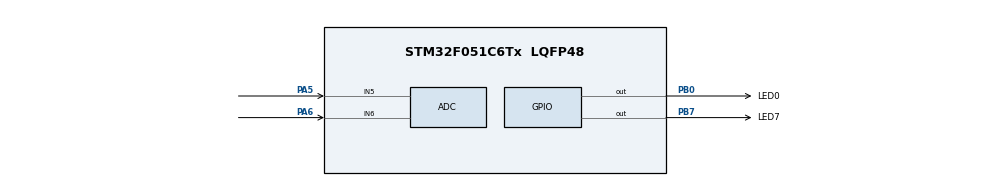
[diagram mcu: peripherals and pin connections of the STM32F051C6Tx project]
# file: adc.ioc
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Mcu.Family=STM32F0
Mcu.Name=STM32F051C6Tx
Mcu.Package=LQFP48
PA13.Mode=Serial_Wire
PA13.Signal=SYS_SWDIO
PA14.Mode=Serial_Wire
PA14.Signal=SYS_SWCLK
PA5.Mode=IN5
PA5.Signal=ADC_IN5
PA6.Mode=IN6
PA6.Signal=ADC_IN6
PB0.GPIO_Label=LED0
PB0.Signal=GPIO_Output
PB7.GPIO_Label=LED7
PB7.Signal=GPIO_Output
ProjectManager.HeapSize=0x200
ProjectManager.StackSize=0x400
ProjectManager.TargetToolchain=Makefile
board=custom

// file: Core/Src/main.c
/* USER CODE BEGIN Header */
/**
  ******************************************************************************
  * @file           : main.c
  * @brief          : Main program body
  ******************************************************************************
  * @attention
  *
  * Copyright (c) 2024 STMicroelectronics.
  * All rights reserved.
  *
  * This software is licensed under terms that can be found in the LICENSE file
  * in the root directory of this software component.
  * If no LICENSE file comes with this software, it is provided AS-IS.
  *
  ******************************************************************************
  */
/* USER CODE END Header */
#include "main.h"
#include "adc.h"
#include "gpio.h"

/* USER CODE BEGIN PV */
//JUSTIN - START 1/3
uint16_t adc_value;
uint8_t channel = 0;
//JUSTIN - END
/* USER CODE END PV */

void SystemClock_Config(void);

int main(void)
{

  /* MCU Configuration--------------------------------------------------------*/

  /* Reset of all peripherals, Initializes the Flash interface and the Systick. */
  HAL_Init();

  /* Configure the system clock */
  SystemClock_Config();

  /* Initialize all configured peripherals */
  MX_GPIO_Init();
  MX_ADC_Init();

  /* Infinite loop */
  while (1)
  {

    /* USER CODE BEGIN 3 */
    //JUSTIN - START 2/3
    adc_set_channel(channel);
    HAL_Delay(1);
    HAL_ADC_Start(&hadc);
    while(HAL_ADC_PollForConversion(&hadc,5)!= HAL_OK);
    adc_value = HAL_ADC_GetValue(&hadc);
    if(channel == 0) {
      HAL_GPIO_WritePin(LED7_GPIO_Port,LED7_Pin,SET);
      channel = 1;
    } else {
      HAL_GPIO_WritePin(LED7_GPIO_Port,LED7_Pin,RESET);
      channel = 0;
    }
    HAL_GPIO_WritePin(LED0_GPIO_Port,LED0_Pin,SET);
    HAL_Delay(5000);
    HAL_GPIO_WritePin(LED0_GPIO_Port,LED0_Pin,RESET);
    //JUSTIN - END
  }
  /* USER CODE END 3 */
}

void SystemClock_Config(void)
{
  RCC_OscInitTypeDef RCC_OscInitStruct = {0};
  RCC_ClkInitTypeDef RCC_ClkInitStruct = {0};

  /** Initializes the RCC Oscillators according to the specified parameters
  * in the RCC_OscInitTypeDef structure.
  */
  RCC_OscInitStruct.OscillatorType = RCC_OSCILLATORTYPE_HSI|RCC_OSCILLATORTYPE_HSI14;
  RCC_OscInitStruct.HSIState = RCC_HSI_ON;
  RCC_OscInitStruct.HSI14State = RCC_HSI14_ON;
  RCC_OscInitStruct.HSICalibrationValue = RCC_HSICALIBRATION_DEFAULT;
  RCC_OscInitStruct.HSI14CalibrationValue = 16;
  RCC_OscInitStruct.PLL.PLLState = RCC_PLL_NONE;
  if (HAL_RCC_OscConfig(&RCC_OscInitStruct) != HAL_OK)
  {
    Error_Handler();
  }

  /** Initializes the CPU, AHB and APB buses clocks
  */
  RCC_ClkInitStruct.ClockType = RCC_CLOCKTYPE_HCLK|RCC_CLOCKTYPE_SYSCLK
                              |RCC_CLOCKTYPE_PCLK1;
  RCC_ClkInitStruct.SYSCLKSource = RCC_SYSCLKSOURCE_HSI;
  RCC_ClkInitStruct.AHBCLKDivider = RCC_SYSCLK_DIV1;
  RCC_ClkInitStruct.APB1CLKDivider = RCC_HCLK_DIV1;

  if (HAL_RCC_ClockConfig(&RCC_ClkInitStruct, FLASH_LATENCY_0) != HAL_OK)
  {
    Error_Handler();
  }
}

/* USER CODE BEGIN 4 */
//JUSTIN - START 3/3
/* I took this code from the adc.c file - In the init section.
* Regrettably setting up the ADC for reading multiple channels is not great without using DMA (scary)
* So you would need to just look at that file and work out how to modify your set channel accordingly.
*/
void adc_set_channel(uint8_t num) {
    ADC_ChannelConfTypeDef sConfig = {0};

    if (num>0) {
      sConfig.Channel = ADC_CHANNEL_5;
    } else {
      sConfig.Channel = ADC_CHANNEL_6;
    }
    sConfig.Rank = ADC_RANK_CHANNEL_NUMBER;
    sConfig.SamplingTime = ADC_SAMPLETIME_1CYCLE_5;
    if (HAL_ADC_ConfigChannel(&hadc, &sConfig) != HAL_OK)
    {
      Error_Handler();
    }
}
//JUSTIN - END
/* USER CODE END 4 */

void Error_Handler(void)
{
  __disable_irq();
  while (1)
  {
  }
}
